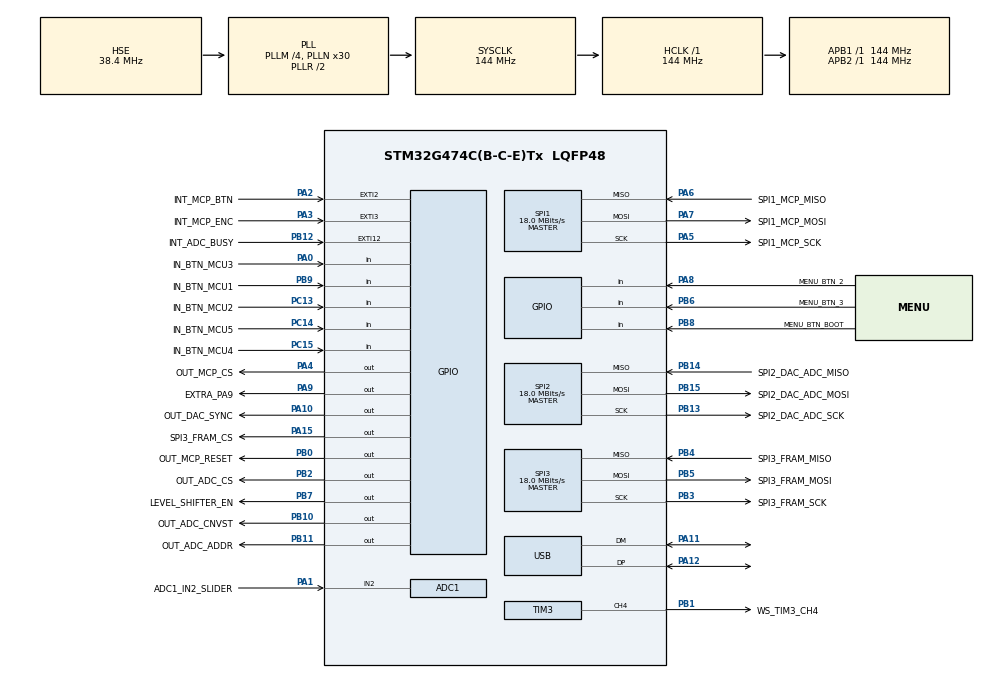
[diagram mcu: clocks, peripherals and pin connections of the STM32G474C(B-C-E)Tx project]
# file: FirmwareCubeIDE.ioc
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ADC1.Channel-1\#ChannelRegularConversion=ADC_CHANNEL_2
ADC1.ClockPrescaler=ADC_CLOCK_ASYNC_DIV256
ADC1.ContinuousConvMode=ENABLE
ADC1.NbrOfConversion=1
ADC1.NbrOfConversionFlag=1
ADC1.OffsetNumber-1\#ChannelRegularConversion=ADC_OFFSET_NONE
ADC1.OversamplingMode=ENABLE
ADC1.Rank-1\#ChannelRegularConversion=1
ADC1.Ratio=ADC_OVERSAMPLING_RATIO_32
ADC1.RightBitShift=ADC_RIGHTBITSHIFT_4
ADC1.SamplingTime-1\#ChannelRegularConversion=ADC_SAMPLETIME_247CYCLES_5
ADC1.master=1
Dma.Request0=TIM3_CH4
Dma.Request1=SPI1_RX
Dma.Request2=SPI1_TX
Dma.Request3=SPI2_RX
Dma.Request4=SPI2_TX
Dma.SPI1_RX.1.Direction=DMA_PERIPH_TO_MEMORY
Dma.SPI1_RX.1.EventEnable=DISABLE
Dma.SPI1_RX.1.Instance=DMA1_Channel2
Dma.SPI1_RX.1.MemDataAlignment=DMA_MDATAALIGN_BYTE
Dma.SPI1_RX.1.MemInc=DMA_MINC_ENABLE
Dma.SPI1_RX.1.Mode=DMA_NORMAL
Dma.SPI1_RX.1.PeriphDataAlignment=DMA_PDATAALIGN_BYTE
Dma.SPI1_RX.1.PeriphInc=DMA_PINC_DISABLE
Dma.SPI1_RX.1.Polarity=HAL_DMAMUX_REQ_GEN_RISING
Dma.SPI1_RX.1.Priority=DMA_PRIORITY_MEDIUM
Dma.SPI1_RX.1.RequestNumber=1
Dma.SPI1_RX.1.SignalID=NONE
Dma.SPI1_RX.1.SyncEnable=DISABLE
Dma.SPI1_RX.1.SyncPolarity=HAL_DMAMUX_SYNC_NO_EVENT
Dma.SPI1_RX.1.SyncRequestNumber=1
Dma.SPI1_RX.1.SyncSignalID=NONE
Dma.SPI1_TX.2.Direction=DMA_MEMORY_TO_PERIPH
Dma.SPI1_TX.2.EventEnable=DISABLE
Dma.SPI1_TX.2.Instance=DMA1_Channel3
Dma.SPI1_TX.2.MemDataAlignment=DMA_MDATAALIGN_BYTE
Dma.SPI1_TX.2.MemInc=DMA_MINC_ENABLE
Dma.SPI1_TX.2.Mode=DMA_NORMAL
Dma.SPI1_TX.2.PeriphDataAlignment=DMA_PDATAALIGN_BYTE
Dma.SPI1_TX.2.PeriphInc=DMA_PINC_DISABLE
Dma.SPI1_TX.2.Polarity=HAL_DMAMUX_REQ_GEN_RISING
Dma.SPI1_TX.2.Priority=DMA_PRIORITY_MEDIUM
Dma.SPI1_TX.2.RequestNumber=1
Dma.SPI1_TX.2.SignalID=NONE
Dma.SPI1_TX.2.SyncEnable=DISABLE
Dma.SPI1_TX.2.SyncPolarity=HAL_DMAMUX_SYNC_NO_EVENT
Dma.SPI1_TX.2.SyncRequestNumber=1
Dma.SPI1_TX.2.SyncSignalID=NONE
Dma.SPI2_RX.3.Direction=DMA_PERIPH_TO_MEMORY
Dma.SPI2_RX.3.EventEnable=DISABLE
Dma.SPI2_RX.3.Instance=DMA1_Channel4
Dma.SPI2_RX.3.MemDataAlignment=DMA_MDATAALIGN_BYTE
Dma.SPI2_RX.3.MemInc=DMA_MINC_ENABLE
Dma.SPI2_RX.3.Mode=DMA_NORMAL
Dma.SPI2_RX.3.PeriphDataAlignment=DMA_PDATAALIGN_BYTE
Dma.SPI2_RX.3.PeriphInc=DMA_PINC_DISABLE
Dma.SPI2_RX.3.Polarity=HAL_DMAMUX_REQ_GEN_RISING
Dma.SPI2_RX.3.Priority=DMA_PRIORITY_HIGH
Dma.SPI2_RX.3.RequestNumber=1
Dma.SPI2_RX.3.SignalID=NONE
Dma.SPI2_RX.3.SyncEnable=DISABLE
Dma.SPI2_RX.3.SyncPolarity=HAL_DMAMUX_SYNC_NO_EVENT
Dma.SPI2_RX.3.SyncRequestNumber=1
Dma.SPI2_RX.3.SyncSignalID=NONE
Dma.SPI2_TX.4.Direction=DMA_MEMORY_TO_PERIPH
Dma.SPI2_TX.4.EventEnable=DISABLE
Dma.SPI2_TX.4.Instance=DMA1_Channel5
Dma.SPI2_TX.4.MemDataAlignment=DMA_MDATAALIGN_BYTE
Dma.SPI2_TX.4.MemInc=DMA_MINC_ENABLE
Dma.SPI2_TX.4.Mode=DMA_NORMAL
Dma.SPI2_TX.4.PeriphDataAlignment=DMA_PDATAALIGN_BYTE
Dma.SPI2_TX.4.PeriphInc=DMA_PINC_DISABLE
Dma.SPI2_TX.4.Polarity=HAL_DMAMUX_REQ_GEN_RISING
Dma.SPI2_TX.4.Priority=DMA_PRIORITY_HIGH
Dma.SPI2_TX.4.RequestNumber=1
Dma.SPI2_TX.4.SignalID=NONE
Dma.SPI2_TX.4.SyncEnable=DISABLE
Dma.SPI2_TX.4.SyncPolarity=HAL_DMAMUX_SYNC_NO_EVENT
Dma.SPI2_TX.4.SyncRequestNumber=1
Dma.SPI2_TX.4.SyncSignalID=NONE
Dma.TIM3_CH4.0.Direction=DMA_MEMORY_TO_PERIPH
Dma.TIM3_CH4.0.EventEnable=ENABLE
Dma.TIM3_CH4.0.Instance=DMA1_Channel1
Dma.TIM3_CH4.0.MemDataAlignment=DMA_MDATAALIGN_HALFWORD
Dma.TIM3_CH4.0.MemInc=DMA_MINC_ENABLE
Dma.TIM3_CH4.0.Mode=DMA_NORMAL
Dma.TIM3_CH4.0.PeriphDataAlignment=DMA_PDATAALIGN_HALFWORD
Dma.TIM3_CH4.0.PeriphInc=DMA_PINC_DISABLE
Dma.TIM3_CH4.0.Polarity=HAL_DMAMUX_REQ_GEN_RISING
Dma.TIM3_CH4.0.Priority=DMA_PRIORITY_HIGH
Dma.TIM3_CH4.0.RequestNumber=1
Dma.TIM3_CH4.0.SignalID=NONE
Dma.TIM3_CH4.0.SyncEnable=DISABLE
Dma.TIM3_CH4.0.SyncPolarity=HAL_DMAMUX_SYNC_NO_EVENT
Dma.TIM3_CH4.0.SyncRequestNumber=1
Dma.TIM3_CH4.0.SyncSignalID=NONE
Mcu.Family=STM32G4
Mcu.Name=STM32G474C(B-C-E)Tx
Mcu.Package=LQFP48
NVIC.ADC1_2_IRQn=true\:0\:0\:false\:false\:true\:true\:true\:true
NVIC.DMA1_Channel1_IRQn=true\:0\:0\:false\:false\:true\:false\:true\:true
NVIC.DMA1_Channel2_IRQn=true\:0\:0\:false\:false\:true\:false\:true\:true
NVIC.DMA1_Channel3_IRQn=true\:0\:0\:false\:false\:true\:false\:true\:true
NVIC.DMA1_Channel4_IRQn=true\:0\:0\:false\:false\:true\:false\:true\:true
NVIC.DMA1_Channel5_IRQn=true\:0\:0\:false\:false\:true\:false\:true\:true
NVIC.DMAMUX_OVR_IRQn=true\:0\:0\:false\:false\:true\:false\:true\:true
NVIC.EXTI15_10_IRQn=true\:0\:0\:false\:false\:true\:true\:true\:true
NVIC.EXTI2_IRQn=true\:0\:0\:false\:false\:true\:true\:true\:true
NVIC.EXTI3_IRQn=true\:0\:0\:false\:false\:true\:true\:true\:true
NVIC.PriorityGroup=NVIC_PRIORITYGROUP_4
NVIC.SPI1_IRQn=true\:0\:0\:false\:false\:true\:true\:true\:true
NVIC.SPI2_IRQn=true\:0\:0\:false\:false\:true\:true\:true\:true
NVIC.TIM2_IRQn=true\:0\:0\:false\:false\:true\:true\:true\:true
NVIC.TIM3_IRQn=true\:0\:0\:false\:false\:true\:true\:true\:true
NVIC.USB_LP_IRQn=true\:0\:0\:false\:false\:true\:false\:true\:true
PA0.GPIO_Label=IN_BTN_MCU3
PA0.Signal=GPIO_Input
PA1.GPIO_Label=ADC1_IN2_SLIDER
PA1.Mode=IN2-Single-Ended
PA1.Signal=ADC1_IN2
PA10.GPIO_Label=OUT_DAC_SYNC
PA10.GPIO_Speed=GPIO_SPEED_FREQ_HIGH
PA10.PinState=GPIO_PIN_SET
PA10.Signal=GPIO_Output
PA11.Mode=Device
PA11.Signal=USB_DM
PA12.Mode=Device
PA12.Signal=USB_DP
PA13.Mode=Serial_Wire
PA13.Signal=SYS_JTMS-SWDIO
PA14.Mode=Serial_Wire
PA14.Signal=SYS_JTCK-SWCLK
PA15.GPIO_Label=SPI3_FRAM_CS
PA15.GPIO_Speed=GPIO_SPEED_FREQ_HIGH
PA15.Signal=GPIO_Output
PA2.GPIO_Label=INT_MCP_BTN
PA2.Signal=GPXTI2
PA3.GPIO_Label=INT_MCP_ENC
PA3.Signal=GPXTI3
PA4.GPIO_Label=OUT_MCP_CS
PA4.GPIO_Speed=GPIO_SPEED_FREQ_HIGH
PA4.Signal=GPIO_Output
PA5.GPIO_Label=SPI1_MCP_SCK
PA5.GPIO_Speed=GPIO_SPEED_FREQ_HIGH
PA5.Mode=Full_Duplex_Master
PA5.Signal=SPI1_SCK
PA6.GPIO_Label=SPI1_MCP_MISO
PA6.GPIO_Speed=GPIO_SPEED_FREQ_HIGH
PA6.Mode=Full_Duplex_Master
PA6.Signal=SPI1_MISO
PA7.GPIO_Label=SPI1_MCP_MOSI
PA7.GPIO_Speed=GPIO_SPEED_FREQ_HIGH
PA7.Mode=Full_Duplex_Master
PA7.Signal=SPI1_MOSI
PA8.GPIO_Label=MENU_BTN_2
PA8.Signal=GPIO_Input
PA9.GPIO_Label=EXTRA_PA9
PA9.GPIO_Speed=GPIO_SPEED_FREQ_HIGH
PA9.PinState=GPIO_PIN_SET
PA9.Signal=GPIO_Output
PB0.GPIO_Label=OUT_MCP_RESET
PB0.GPIO_Speed=GPIO_SPEED_FREQ_HIGH
PB0.Signal=GPIO_Output
PB1.GPIO_Label=WS_TIM3_CH4
PB1.GPIO_Speed=GPIO_SPEED_FREQ_LOW
PB1.Signal=S_TIM3_CH4
PB10.GPIO_Label=OUT_ADC_CNVST
PB10.GPIO_Speed=GPIO_SPEED_FREQ_HIGH
PB10.PinState=GPIO_PIN_SET
PB10.Signal=GPIO_Output
PB11.GPIO_Label=OUT_ADC_ADDR
PB11.GPIO_Speed=GPIO_SPEED_FREQ_HIGH
PB11.PinState=GPIO_PIN_RESET
PB11.Signal=GPIO_Output
PB12.GPIO_Label=INT_ADC_BUSY
PB12.GPIO_ModeDefaultEXTI=GPIO_MODE_IT_FALLING
PB12.Signal=GPXTI12
PB13.GPIO_Label=SPI2_DAC_ADC_SCK
PB13.GPIO_Speed=GPIO_SPEED_FREQ_HIGH
PB13.Mode=Full_Duplex_Master
PB13.Signal=SPI2_SCK
PB14.GPIO_Label=SPI2_DAC_ADC_MISO
PB14.GPIO_Speed=GPIO_SPEED_FREQ_HIGH
PB14.Mode=Full_Duplex_Master
PB14.Signal=SPI2_MISO
PB15.GPIO_Label=SPI2_DAC_ADC_MOSI
PB15.GPIO_Speed=GPIO_SPEED_FREQ_HIGH
PB15.Mode=Full_Duplex_Master
PB15.Signal=SPI2_MOSI
PB2.GPIO_Label=OUT_ADC_CS
PB2.GPIO_Speed=GPIO_SPEED_FREQ_HIGH
PB2.PinState=GPIO_PIN_SET
PB2.Signal=GPIO_Output
PB3.GPIO_Label=SPI3_FRAM_SCK
PB3.GPIO_Speed=GPIO_SPEED_FREQ_HIGH
PB3.Mode=Full_Duplex_Master
PB3.Signal=SPI3_SCK
PB4.GPIO_Label=SPI3_FRAM_MISO
PB4.GPIO_Speed=GPIO_SPEED_FREQ_HIGH
PB4.Mode=Full_Duplex_Master
PB4.Signal=SPI3_MISO
PB5.GPIO_Label=SPI3_FRAM_MOSI
PB5.GPIO_Speed=GPIO_SPEED_FREQ_HIGH
PB5.Mode=Full_Duplex_Master
PB5.Signal=SPI3_MOSI
PB6.GPIO_Label=MENU_BTN_3
PB6.Signal=GPIO_Input
PB7.GPIO_Label=LEVEL_SHIFTER_EN
PB7.Signal=GPIO_Output
PB8-BOOT0.GPIO_Label=MENU_BTN_BOOT
PB8-BOOT0.Signal=GPIO_Input
PB9.GPIO_Label=IN_BTN_MCU1
PB9.Signal=GPIO_Input
PC13.GPIO_Label=IN_BTN_MCU2
PC13.Signal=GPIO_Input
PC14-OSC32_IN.GPIO_Label=IN_BTN_MCU5
PC14-OSC32_IN.Signal=GPIO_Input
PC15-OSC32_OUT.GPIO_Label=IN_BTN_MCU4
PC15-OSC32_OUT.Signal=GPIO_Input
PF0-OSC_IN.Mode=HSE-External-Oscillator
PF0-OSC_IN.Signal=RCC_OSC_IN
PF1-OSC_OUT.Mode=HSE-External-Oscillator
PF1-OSC_OUT.Signal=RCC_OSC_OUT
ProjectManager.HeapSize=0x200
ProjectManager.StackSize=0x400
ProjectManager.TargetToolchain=CMake
RCC.ADC12Freq_Value=144000000
RCC.ADC345Freq_Value=144000000
RCC.AHBFreq_Value=144000000
RCC.APB1Freq_Value=144000000
RCC.APB1TimFreq_Value=144000000
RCC.APB2Freq_Value=144000000
RCC.APB2TimFreq_Value=144000000
RCC.CortexFreq_Value=144000000
RCC.EXTERNAL_CLOCK_VALUE=12288000
RCC.HCLKFreq_Value=144000000
RCC.HSE_VALUE=38400000
RCC.HSI48_VALUE=48000000
RCC.HSI_VALUE=16000000
RCC.LSE_VALUE=32768
RCC.PLLM=RCC_PLLM_DIV4
RCC.PLLN=30
RCC.PLLQ=RCC_PLLQ_DIV6
RCC.PLLSourceVirtual=RCC_PLLSOURCE_HSE
RCC.PWREXT_OverDrive=PWREXT_OverDrive_DESACTIVATED
RCC.RCC_TIM_PRescaler_Selection=RCC_TIMPRES_DESACTIVATED
RCC.SYSCLKFreq_VALUE=144000000
RCC.SYSCLKSource=RCC_SYSCLKSOURCE_PLLCLK
RCC.USBFreq_Value=48000000
RCC.VCOOutputFreq_Value=288000000
SH.S_TIM3_CH4.0=TIM3_CH4,PWM Generation4 CH4
SPI1.BaudRatePrescaler=SPI_BAUDRATEPRESCALER_8
SPI1.CalculateBaudRate=18.0 MBits/s
SPI1.DataSize=SPI_DATASIZE_8BIT
SPI1.Direction=SPI_DIRECTION_2LINES
SPI1.Mode=SPI_MODE_MASTER
SPI1.NSSPMode=SPI_NSS_PULSE_DISABLE
SPI1.VirtualType=VM_MASTER
SPI2.BaudRatePrescaler=SPI_BAUDRATEPRESCALER_8
SPI2.CLKPhase=SPI_PHASE_1EDGE
SPI2.CalculateBaudRate=18.0 MBits/s
SPI2.DataSize=SPI_DATASIZE_8BIT
SPI2.Direction=SPI_DIRECTION_2LINES
SPI2.Mode=SPI_MODE_MASTER
SPI2.NSSPMode=SPI_NSS_PULSE_DISABLE
SPI2.VirtualType=VM_MASTER
SPI3.BaudRatePrescaler=SPI_BAUDRATEPRESCALER_8
SPI3.CalculateBaudRate=18.0 MBits/s
SPI3.DataSize=SPI_DATASIZE_8BIT
SPI3.Direction=SPI_DIRECTION_2LINES
SPI3.Mode=SPI_MODE_MASTER
SPI3.NSSPMode=SPI_NSS_PULSE_DISABLE
SPI3.VirtualType=VM_MASTER
TIM2.PeriodNoDither=32
TIM2.Prescaler=14400
TIM3.Channel-PWM\ Generation4\ CH4=TIM_CHANNEL_4
TIM3.OCFastMode_PWM-PWM\ Generation4\ CH4=TIM_OCFAST_DISABLE
TIM3.PeriodNoDither=90-1
TIM3.Prescaler=2-1
TIM4.PeriodNoDither=100
TIM4.Prescaler=143
USB_DEVICE.CLASS_NAME_FS=HID
USB_DEVICE.MANUFACTURER_STRING=Bemeier
USB_DEVICE.PRODUCT_STRING_HID_FS=BMCV
USB_DEVICE.VirtualMode=Hid
USB_DEVICE.VirtualModeFS=Hid_FS
VP_SYS_VS_DBSignals.Mode=DisableDeadBatterySignals
VP_TIM1_VS_ClockSourceINT.Mode=Internal
VP_TIM2_VS_ClockSourceINT.Mode=Internal
VP_TIM3_VS_ClockSourceINT.Mode=Internal
VP_TIM4_VS_ClockSourceINT.Mode=Internal
VP_USB_DEVICE_VS_USB_DEVICE_HID_FS.Mode=HID_FS
board=custom

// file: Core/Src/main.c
/* USER CODE BEGIN Header */
/**
  ******************************************************************************
  * @file           : main.c
  * @brief          : Main program body
  ******************************************************************************
  * @attention
  *
  * Copyright (c) 2025 STMicroelectronics.
  * All rights reserved.
  *
  * This software is licensed under terms that can be found in the LICENSE file
  * in the root directory of this software component.
  * If no LICENSE file comes with this software, it is provided AS-IS.
  *
  ******************************************************************************
  */
/* USER CODE END Header */
#include "main.h"
#include "usb_device.h"

/* USER CODE BEGIN Includes */
#include <math.h>
#include "dac_adc.h"
#include "dualmcp.h"
#include "envelope.h"
#include "helpers.h"
#include "ws2811.h"
#include "fram.h"
#include "midi.h"
/* USER CODE END Includes */

/* USER CODE BEGIN PD */

volatile uint8_t mcp_poll = 0;
volatile uint8_t dacadc_poll = 0;
volatile uint8_t led_poll = 0;
volatile uint8_t midi_poll = 0;

// MCP & DAC
DUALMCP mcp;
DAC_ADC dacadc;
ENVELOPE env[4];

/* USER CODE END PD */

ADC_HandleTypeDef hadc1;

SPI_HandleTypeDef hspi1;
SPI_HandleTypeDef hspi2;
SPI_HandleTypeDef hspi3;
DMA_HandleTypeDef hdma_spi1_rx;
DMA_HandleTypeDef hdma_spi1_tx;
DMA_HandleTypeDef hdma_spi2_rx;
DMA_HandleTypeDef hdma_spi2_tx;

TIM_HandleTypeDef htim1;
TIM_HandleTypeDef htim2;
TIM_HandleTypeDef htim3;
TIM_HandleTypeDef htim4;
DMA_HandleTypeDef hdma_tim3_ch4;

/* USER CODE BEGIN PV */
uint16_t slider = 0;
int state = 0;
uint32_t now = 0, next_blink = 500, next_tick = 1000, loop_count = 0;
HAL_StatusTypeDef result;

/* USER CODE END PV */

void SystemClock_Config(void);
static void MX_GPIO_Init(void);
static void MX_DMA_Init(void);
static void MX_ADC1_Init(void);
static void MX_SPI1_Init(void);
static void MX_SPI2_Init(void);
static void MX_SPI3_Init(void);
static void MX_TIM1_Init(void);
static void MX_TIM3_Init(void);
static void MX_TIM4_Init(void);
static void MX_TIM2_Init(void);

/* USER CODE BEGIN 0 */

uint8_t nextDac = 0;

void HAL_GPIO_EXTI_Callback(uint16_t GPIO_Pin) {
	if(GPIO_Pin == INT_MCP_ENC_Pin || GPIO_Pin == 0) {
    mcp_poll = 1;
	}
}

void HAL_SPI_TxRxCpltCallback(SPI_HandleTypeDef * hspi) {
	if (hspi->Instance == mcp.spiHandle->Instance) {
		MCP_DMA_Complete(&mcp);
	}

	if (hspi->Instance == dacadc.spiHandle->Instance) {
		DAC_ADC_DMA_Complete(&dacadc);
		nextDac = 1;
	}
}

void HAL_TIM_PWM_PulseFinishedCallback(TIM_HandleTypeDef *htim)
{
    ws2811_dma_complete_callback(htim);
}

#define SINE_STEPS     128       // Number of points per wave cycle
#define SINE_AMPLITUDE 16000     // Max int16_t value for DAC full scale
#define CHANNEL        0         // DAC Channel A

float sine_table[SINE_STEPS];

uint8_t val1;
uint8_t test_val;
uint8_t read_val;
uint16_t sine_index = 0;

volatile float adc_freq_hz = 0;           // Smoothed ADC frequency estimate
volatile uint32_t last_sample_time = 0;   // Last tick (ms) of ADC sample
const float filter_alpha = 0.1f;          // Low-pass filter coefficient
int16_t lastSlider = 0;

void init_cycle_counter() {
    CoreDebug->DEMCR |= CoreDebug_DEMCR_TRCENA_Msk;
    DWT->CYCCNT = 0;
    DWT->CTRL |= DWT_CTRL_CYCCNTENA_Msk;
}

/* USER CODE END 0 */

int main(void)
{

  /* MCU Configuration--------------------------------------------------------*/

  /* Reset of all peripherals, Initializes the Flash interface and the Systick. */
  HAL_Init();

  /* Configure the system clock */
  SystemClock_Config();

  /* Initialize all configured peripherals */
  MX_GPIO_Init();
  MX_DMA_Init();
  MX_ADC1_Init();
  MX_SPI1_Init();
  MX_SPI2_Init();
  MX_SPI3_Init();
  MX_TIM1_Init();
  MX_TIM3_Init();
  MX_TIM4_Init();
  MX_USB_Device_Init();
  MX_TIM2_Init();
  /* USER CODE BEGIN 2 */

  init_cycle_counter();
  generate_quant_lut();

  HAL_GPIO_WritePin(LEVEL_SHIFTER_EN_GPIO_Port, LEVEL_SHIFTER_EN_Pin, GPIO_PIN_SET);
  HAL_Delay(20);

  ws2811_init(&htim3, TIM_CHANNEL_4);

  fram_init(&hspi3, SPI3_FRAM_CS_GPIO_Port, SPI3_FRAM_CS_Pin);

  // Should move to init function:
  mcp.spiHandle = &hspi1;
  mcp.csPortHandle = OUT_MCP_CS_GPIO_Port;
  mcp.csPin = OUT_MCP_CS_Pin;
  mcp.resetPortHandle = OUT_MCP_RESET_GPIO_Port;
  mcp.resetPin = OUT_MCP_RESET_Pin;

  dacadc.spiHandle = &hspi2;
  dacadc.csadcPortHandle = OUT_ADC_CS_GPIO_Port;
  dacadc.csadcPin = OUT_ADC_CS_Pin;
  dacadc.cnvstPortHandle = OUT_ADC_CNVST_GPIO_Port;
  dacadc.cnvstPin = OUT_ADC_CNVST_Pin;
  dacadc.addrPortHandle = OUT_ADC_ADDR_GPIO_Port;
  dacadc.adrrPin = OUT_ADC_ADDR_Pin;
  dacadc.csdacPortHandle = OUT_DAC_SYNC_GPIO_Port;
  dacadc.csdacPin = OUT_DAC_SYNC_Pin;

  MCP23S17_Init(&mcp);

  ADC_Init(&dacadc);

  DAC_Init(&dacadc);

  for (int i = 0; i < SINE_STEPS; i++)
  {
      sine_table[i] = SINE_AMPLITUDE * sinf(2 * M_PI * i / SINE_STEPS);
  }

  /* USER CODE END 2 */

  /* Infinite loop */
  /* USER CODE BEGIN WHILE */
  HAL_ADC_Start_IT(&hadc1);
  HAL_TIM_Base_Start_IT(&htim2);

  HAL_Delay(10);

  DAC_ADC_DMA_Next(&dacadc);

  uint32_t last_time = 0;
  uint32_t now = 0;
  uint32_t elapsed_cycles = 0;

  while (1)
  {
    now = DWT->CYCCNT;
    elapsed_cycles = now - last_time;
    last_time = now;
    uint32_t elapsed_us = elapsed_cycles / (SystemCoreClock / 1000000);

    /*
    int16_t envVal = update_envelope(&env[0], elapsed_us);
    WRITE_DAC_VALUE(&dacadc, 6, envVal);
  	set_led_adc_range(envVal/4, &ws2811_rgb_data[0]);
    */

    if (mcp_poll == 1 && mcp.spi_dma_state == 0) {
        mcp_poll = 0;
        mcp.button_state[N_ENCODERS*2+0] = HAL_GPIO_ReadPin(IN_BTN_MCU1_GPIO_Port,   IN_BTN_MCU1_Pin);
        mcp.button_state[N_ENCODERS*2+1] = HAL_GPIO_ReadPin(IN_BTN_MCU2_GPIO_Port,   IN_BTN_MCU2_Pin);
        mcp.button_state[N_ENCODERS*2+2] = HAL_GPIO_ReadPin(IN_BTN_MCU3_GPIO_Port,   IN_BTN_MCU3_Pin);
        mcp.button_state[N_ENCODERS*2+3] = HAL_GPIO_ReadPin(IN_BTN_MCU4_GPIO_Port,   IN_BTN_MCU4_Pin);
        mcp.button_state[N_ENCODERS*2+4] = HAL_GPIO_ReadPin(IN_BTN_MCU5_GPIO_Port,   IN_BTN_MCU5_Pin);
        mcp.button_state[N_ENCODERS*2+5] = HAL_GPIO_ReadPin(MENU_BTN_2_GPIO_Port,    MENU_BTN_2_Pin);
        mcp.button_state[N_ENCODERS*2+6] = HAL_GPIO_ReadPin(MENU_BTN_BOOT_GPIO_Port, MENU_BTN_BOOT_Pin);
        mcp.button_state[N_ENCODERS*2+7] = HAL_GPIO_ReadPin(MENU_BTN_3_GPIO_Port,    MENU_BTN_3_Pin);

        // Process buttons?

        ReadButtonsDMA(&mcp);
    }

    if (midi_poll && midi_idle()) {
      midi_poll = 0;
      MIDI_addToUSBReport(0, 0xB0, 0x10, sclamp(dacadc.adc_i[0]/32, 0, 127));
      MIDI_addToUSBReport(0, 0xB0, 0x11, sclamp(dacadc.adc_i[1]/32, 0, 127));
      MIDI_addToUSBReport(0, 0xB0, 0x12, sclamp(dacadc.adc_i[2]/32, 0, 127));
      MIDI_addToUSBReport(0, 0xB0, 0x13, sclamp(dacadc.adc_i[3]/32, 0, 127));
      update_midi();
    }

    if (led_poll && ws2811_dma_completed()) {
      led_poll = 0;
      //float hue = sinf(2.0f * M_PI * freq * time_ms / 1000.0f) * 127.5f + 127.5f;
      //set_led_hsv(128, 255, 80, &ws2811_rgb_data[0]);
      for (uint8_t ledidx = 0; ledidx < LED_COUNT; ledidx++) {
        ws2811_setled_hsv(ledidx, (dacadc.adc_i[0] + 4096) / 32, 250, 16);
      }

      //set_led_hsv(255, 255, 80, &ws2811_rgb_data[LED_COUNT-1]);
      //set_led_adc_range(adc_i[0], &ws2811_rgb_data[0]);

      ws2811_update();
    }

    for (uint8_t ch = 0; ch < 4; ch++) {
      if (dacadc.trig_flag[ch]) {
        dacadc.trig_flag[ch] = 0;
        if (ch == 0) {
          //HAL_GPIO_TogglePin(SLIDER_LED_GPIO_Port, SLIDER_LED_Pin);
          trigger_envelope(&env[0], 10000 + slider * 20, 10000 + slider * 60, (int8_t) 127 - ((mcp.enc_position_state[7]*4) % 256));
        }
      }
    }

    // TODO: dma busy flag?
    if (nextDac) {
      /*
      if (dacadc.CH_IDX == 0) {
          sine_index = (sine_index + 1) % SINE_STEPS;
          for (uint8_t i = 0; i < 6; i++) {
            int16_t val = sine_table[(sine_index + i * 16) % SINE_STEPS];
            if (i % 2 == 0 && val > 0) {
              val = SINE_AMPLITUDE;
            } else if (i % 2 == 0 && val <= 0) {
              val = -SINE_AMPLITUDE;
            }
            WRITE_DAC_VALUE(&dacadc, i, val);
          }
      }

      WRITE_DAC_VALUE(&dacadc, 7, quantize_adc(dacadc.adc_i[3]));
      */

      // COMPUTE OUTPUT?
      nextDac = 0;
      DAC_ADC_DMA_Next(&dacadc);
    }

    /* USER CODE END WHILE */

  }
}

void SystemClock_Config(void)
{
  RCC_OscInitTypeDef RCC_OscInitStruct = {0};
  RCC_ClkInitTypeDef RCC_ClkInitStruct = {0};

  /** Configure the main internal regulator output voltage
  */
  HAL_PWREx_ControlVoltageScaling(PWR_REGULATOR_VOLTAGE_SCALE1);

  /** Initializes the RCC Oscillators according to the specified parameters
  * in the RCC_OscInitTypeDef structure.
  */
  RCC_OscInitStruct.OscillatorType = RCC_OSCILLATORTYPE_HSE;
  RCC_OscInitStruct.HSEState = RCC_HSE_ON;
  RCC_OscInitStruct.PLL.PLLState = RCC_PLL_ON;
  RCC_OscInitStruct.PLL.PLLSource = RCC_PLLSOURCE_HSE;
  RCC_OscInitStruct.PLL.PLLM = RCC_PLLM_DIV4;
  RCC_OscInitStruct.PLL.PLLN = 30;
  RCC_OscInitStruct.PLL.PLLP = RCC_PLLP_DIV2;
  RCC_OscInitStruct.PLL.PLLQ = RCC_PLLQ_DIV6;
  RCC_OscInitStruct.PLL.PLLR = RCC_PLLR_DIV2;
  if (HAL_RCC_OscConfig(&RCC_OscInitStruct) != HAL_OK)
  {
    Error_Handler();
  }

  /** Initializes the CPU, AHB and APB buses clocks
  */
  RCC_ClkInitStruct.ClockType = RCC_CLOCKTYPE_HCLK|RCC_CLOCKTYPE_SYSCLK
                              |RCC_CLOCKTYPE_PCLK1|RCC_CLOCKTYPE_PCLK2;
  RCC_ClkInitStruct.SYSCLKSource = RCC_SYSCLKSOURCE_PLLCLK;
  RCC_ClkInitStruct.AHBCLKDivider = RCC_SYSCLK_DIV1;
  RCC_ClkInitStruct.APB1CLKDivider = RCC_HCLK_DIV1;
  RCC_ClkInitStruct.APB2CLKDivider = RCC_HCLK_DIV1;

  if (HAL_RCC_ClockConfig(&RCC_ClkInitStruct, FLASH_LATENCY_4) != HAL_OK)
  {
    Error_Handler();
  }
}

static void MX_ADC1_Init(void)
{

  ADC_MultiModeTypeDef multimode = {0};
  ADC_ChannelConfTypeDef sConfig = {0};

  /** Common config
  */
  hadc1.Instance = ADC1;
  hadc1.Init.ClockPrescaler = ADC_CLOCK_ASYNC_DIV256;
  hadc1.Init.Resolution = ADC_RESOLUTION_12B;
  hadc1.Init.DataAlign = ADC_DATAALIGN_RIGHT;
  hadc1.Init.GainCompensation = 0;
  hadc1.Init.ScanConvMode = ADC_SCAN_DISABLE;
  hadc1.Init.EOCSelection = ADC_EOC_SINGLE_CONV;
  hadc1.Init.LowPowerAutoWait = DISABLE;
  hadc1.Init.ContinuousConvMode = ENABLE;
  hadc1.Init.NbrOfConversion = 1;
  hadc1.Init.DiscontinuousConvMode = DISABLE;
  hadc1.Init.ExternalTrigConv = ADC_SOFTWARE_START;
  hadc1.Init.ExternalTrigConvEdge = ADC_EXTERNALTRIGCONVEDGE_NONE;
  hadc1.Init.DMAContinuousRequests = DISABLE;
  hadc1.Init.Overrun = ADC_OVR_DATA_PRESERVED;
  hadc1.Init.OversamplingMode = ENABLE;
  hadc1.Init.Oversampling.Ratio = ADC_OVERSAMPLING_RATIO_32;
  hadc1.Init.Oversampling.RightBitShift = ADC_RIGHTBITSHIFT_4;
  hadc1.Init.Oversampling.TriggeredMode = ADC_TRIGGEREDMODE_SINGLE_TRIGGER;
  hadc1.Init.Oversampling.OversamplingStopReset = ADC_REGOVERSAMPLING_CONTINUED_MODE;
  if (HAL_ADC_Init(&hadc1) != HAL_OK)
  {
    Error_Handler();
  }

  /** Configure the ADC multi-mode
  */
  multimode.Mode = ADC_MODE_INDEPENDENT;
  if (HAL_ADCEx_MultiModeConfigChannel(&hadc1, &multimode) != HAL_OK)
  {
    Error_Handler();
  }

  /** Configure Regular Channel
  */
  sConfig.Channel = ADC_CHANNEL_2;
  sConfig.Rank = ADC_REGULAR_RANK_1;
  sConfig.SamplingTime = ADC_SAMPLETIME_247CYCLES_5;
  sConfig.SingleDiff = ADC_SINGLE_ENDED;
  sConfig.OffsetNumber = ADC_OFFSET_NONE;
  sConfig.Offset = 0;
  if (HAL_ADC_ConfigChannel(&hadc1, &sConfig) != HAL_OK)
  {
    Error_Handler();
  }

}

static void MX_SPI1_Init(void)
{

  /* SPI1 parameter configuration*/
  hspi1.Instance = SPI1;
  hspi1.Init.Mode = SPI_MODE_MASTER;
  hspi1.Init.Direction = SPI_DIRECTION_2LINES;
  hspi1.Init.DataSize = SPI_DATASIZE_8BIT;
  hspi1.Init.CLKPolarity = SPI_POLARITY_LOW;
  hspi1.Init.CLKPhase = SPI_PHASE_1EDGE;
  hspi1.Init.NSS = SPI_NSS_SOFT;
  hspi1.Init.BaudRatePrescaler = SPI_BAUDRATEPRESCALER_8;
  hspi1.Init.FirstBit = SPI_FIRSTBIT_MSB;
  hspi1.Init.TIMode = SPI_TIMODE_DISABLE;
  hspi1.Init.CRCCalculation = SPI_CRCCALCULATION_DISABLE;
  hspi1.Init.CRCPolynomial = 7;
  hspi1.Init.CRCLength = SPI_CRC_LENGTH_DATASIZE;
  hspi1.Init.NSSPMode = SPI_NSS_PULSE_DISABLE;
  if (HAL_SPI_Init(&hspi1) != HAL_OK)
  {
    Error_Handler();
  }

}

static void MX_SPI2_Init(void)
{

  /* SPI2 parameter configuration*/
  hspi2.Instance = SPI2;
  hspi2.Init.Mode = SPI_MODE_MASTER;
  hspi2.Init.Direction = SPI_DIRECTION_2LINES;
  hspi2.Init.DataSize = SPI_DATASIZE_8BIT;
  hspi2.Init.CLKPolarity = SPI_POLARITY_LOW;
  hspi2.Init.CLKPhase = SPI_PHASE_1EDGE;
  hspi2.Init.NSS = SPI_NSS_SOFT;
  hspi2.Init.BaudRatePrescaler = SPI_BAUDRATEPRESCALER_8;
  hspi2.Init.FirstBit = SPI_FIRSTBIT_MSB;
  hspi2.Init.TIMode = SPI_TIMODE_DISABLE;
  hspi2.Init.CRCCalculation = SPI_CRCCALCULATION_DISABLE;
  hspi2.Init.CRCPolynomial = 7;
  hspi2.Init.CRCLength = SPI_CRC_LENGTH_DATASIZE;
  hspi2.Init.NSSPMode = SPI_NSS_PULSE_DISABLE;
  if (HAL_SPI_Init(&hspi2) != HAL_OK)
  {
    Error_Handler();
  }

}

static void MX_SPI3_Init(void)
{

  /* SPI3 parameter configuration*/
  hspi3.Instance = SPI3;
  hspi3.Init.Mode = SPI_MODE_MASTER;
  hspi3.Init.Direction = SPI_DIRECTION_2LINES;
  hspi3.Init.DataSize = SPI_DATASIZE_8BIT;
  hspi3.Init.CLKPolarity = SPI_POLARITY_LOW;
  hspi3.Init.CLKPhase = SPI_PHASE_1EDGE;
  hspi3.Init.NSS = SPI_NSS_SOFT;
  hspi3.Init.BaudRatePrescaler = SPI_BAUDRATEPRESCALER_8;
  hspi3.Init.FirstBit = SPI_FIRSTBIT_MSB;
  hspi3.Init.TIMode = SPI_TIMODE_DISABLE;
  hspi3.Init.CRCCalculation = SPI_CRCCALCULATION_DISABLE;
  hspi3.Init.CRCPolynomial = 7;
  hspi3.Init.CRCLength = SPI_CRC_LENGTH_DATASIZE;
  hspi3.Init.NSSPMode = SPI_NSS_PULSE_DISABLE;
  if (HAL_SPI_Init(&hspi3) != HAL_OK)
  {
    Error_Handler();
  }

}

static void MX_TIM1_Init(void)
{

  TIM_ClockConfigTypeDef sClockSourceConfig = {0};
  TIM_MasterConfigTypeDef sMasterConfig = {0};

  htim1.Instance = TIM1;
  htim1.Init.Prescaler = 0;
  htim1.Init.CounterMode = TIM_COUNTERMODE_UP;
  htim1.Init.Period = 65535;
  htim1.Init.ClockDivision = TIM_CLOCKDIVISION_DIV1;
  htim1.Init.RepetitionCounter = 0;
  htim1.Init.AutoReloadPreload = TIM_AUTORELOAD_PRELOAD_DISABLE;
  if (HAL_TIM_Base_Init(&htim1) != HAL_OK)
  {
    Error_Handler();
  }
  sClockSourceConfig.ClockSource = TIM_CLOCKSOURCE_INTERNAL;
  if (HAL_TIM_ConfigClockSource(&htim1, &sClockSourceConfig) != HAL_OK)
  {
    Error_Handler();
  }
  sMasterConfig.MasterOutputTrigger = TIM_TRGO_RESET;
  sMasterConfig.MasterOutputTrigger2 = TIM_TRGO2_RESET;
  sMasterConfig.MasterSlaveMode = TIM_MASTERSLAVEMODE_DISABLE;
  if (HAL_TIMEx_MasterConfigSynchronization(&htim1, &sMasterConfig) != HAL_OK)
  {
    Error_Handler();
  }

}

static void MX_TIM2_Init(void)
{

  TIM_ClockConfigTypeDef sClockSourceConfig = {0};
  TIM_MasterConfigTypeDef sMasterConfig = {0};

  htim2.Instance = TIM2;
  htim2.Init.Prescaler = 14400;
  htim2.Init.CounterMode = TIM_COUNTERMODE_UP;
  htim2.Init.Period = 32;
  htim2.Init.ClockDivision = TIM_CLOCKDIVISION_DIV1;
  htim2.Init.AutoReloadPreload = TIM_AUTORELOAD_PRELOAD_DISABLE;
  if (HAL_TIM_Base_Init(&htim2) != HAL_OK)
  {
    Error_Handler();
  }
  sClockSourceConfig.ClockSource = TIM_CLOCKSOURCE_INTERNAL;
  if (HAL_TIM_ConfigClockSource(&htim2, &sClockSourceConfig) != HAL_OK)
  {
    Error_Handler();
  }
  sMasterConfig.MasterOutputTrigger = TIM_TRGO_RESET;
  sMasterConfig.MasterSlaveMode = TIM_MASTERSLAVEMODE_DISABLE;
  if (HAL_TIMEx_MasterConfigSynchronization(&htim2, &sMasterConfig) != HAL_OK)
  {
    Error_Handler();
  }

}

static void MX_TIM3_Init(void)
{

  TIM_ClockConfigTypeDef sClockSourceConfig = {0};
  TIM_MasterConfigTypeDef sMasterConfig = {0};
  TIM_OC_InitTypeDef sConfigOC = {0};

  htim3.Instance = TIM3;
  htim3.Init.Prescaler = 2-1;
  htim3.Init.CounterMode = TIM_COUNTERMODE_UP;
  htim3.Init.Period = 89;
  htim3.Init.ClockDivision = TIM_CLOCKDIVISION_DIV1;
  htim3.Init.AutoReloadPreload = TIM_AUTORELOAD_PRELOAD_DISABLE;
  if (HAL_TIM_Base_Init(&htim3) != HAL_OK)
  {
    Error_Handler();
  }
  sClockSourceConfig.ClockSource = TIM_CLOCKSOURCE_INTERNAL;
  if (HAL_TIM_ConfigClockSource(&htim3, &sClockSourceConfig) != HAL_OK)
  {
    Error_Handler();
  }
  if (HAL_TIM_PWM_Init(&htim3) != HAL_OK)
  {
    Error_Handler();
  }
  sMasterConfig.MasterOutputTrigger = TIM_TRGO_RESET;
  sMasterConfig.MasterSlaveMode = TIM_MASTERSLAVEMODE_DISABLE;
  if (HAL_TIMEx_MasterConfigSynchronization(&htim3, &sMasterConfig) != HAL_OK)
  {
    Error_Handler();
  }
  sConfigOC.OCMode = TIM_OCMODE_PWM1;
  sConfigOC.Pulse = 0;
  sConfigOC.OCPolarity = TIM_OCPOLARITY_HIGH;
  sConfigOC.OCFastMode = TIM_OCFAST_DISABLE;
  if (HAL_TIM_PWM_ConfigChannel(&htim3, &sConfigOC, TIM_CHANNEL_4) != HAL_OK)
  {
    Error_Handler();
  }
  /* USER CODE BEGIN TIM3_Init 2 */
  __HAL_LINKDMA(&htim3, hdma[TIM_DMA_ID_CC4], hdma_tim3_ch4);
  /* USER CODE END TIM3_Init 2 */
  HAL_TIM_MspPostInit(&htim3);

}

static void MX_TIM4_Init(void)
{

  TIM_ClockConfigTypeDef sClockSourceConfig = {0};
  TIM_MasterConfigTypeDef sMasterConfig = {0};

  htim4.Instance = TIM4;
  htim4.Init.Prescaler = 143;
  htim4.Init.CounterMode = TIM_COUNTERMODE_UP;
  htim4.Init.Period = 100;
  htim4.Init.ClockDivision = TIM_CLOCKDIVISION_DIV1;
  htim4.Init.AutoReloadPreload = TIM_AUTORELOAD_PRELOAD_DISABLE;
  if (HAL_TIM_Base_Init(&htim4) != HAL_OK)
  {
    Error_Handler();
  }
  sClockSourceConfig.ClockSource = TIM_CLOCKSOURCE_INTERNAL;
  if (HAL_TIM_ConfigClockSource(&htim4, &sClockSourceConfig) != HAL_OK)
  {
    Error_Handler();
  }
  sMasterConfig.MasterOutputTrigger = TIM_TRGO_RESET;
  sMasterConfig.MasterSlaveMode = TIM_MASTERSLAVEMODE_DISABLE;
  if (HAL_TIMEx_MasterConfigSynchronization(&htim4, &sMasterConfig) != HAL_OK)
  {
    Error_Handler();
  }

}

static void MX_DMA_Init(void)
{

  /* DMA controller clock enable */
  __HAL_RCC_DMAMUX1_CLK_ENABLE();
  __HAL_RCC_DMA1_CLK_ENABLE();

  /* DMA interrupt init */
  /* DMA1_Channel1_IRQn interrupt configuration */
  HAL_NVIC_SetPriority(DMA1_Channel1_IRQn, 0, 0);
  HAL_NVIC_EnableIRQ(DMA1_Channel1_IRQn);
  /* DMA1_Channel2_IRQn interrupt configuration */
  HAL_NVIC_SetPriority(DMA1_Channel2_IRQn, 0, 0);
  HAL_NVIC_EnableIRQ(DMA1_Channel2_IRQn);
  /* DMA1_Channel3_IRQn interrupt configuration */
  HAL_NVIC_SetPriority(DMA1_Channel3_IRQn, 0, 0);
  HAL_NVIC_EnableIRQ(DMA1_Channel3_IRQn);
  /* DMA1_Channel4_IRQn interrupt configuration */
  HAL_NVIC_SetPriority(DMA1_Channel4_IRQn, 0, 0);
  HAL_NVIC_EnableIRQ(DMA1_Channel4_IRQn);
  /* DMA1_Channel5_IRQn interrupt configuration */
  HAL_NVIC_SetPriority(DMA1_Channel5_IRQn, 0, 0);
  HAL_NVIC_EnableIRQ(DMA1_Channel5_IRQn);
  /* DMAMUX_OVR_IRQn interrupt configuration */
  HAL_NVIC_SetPriority(DMAMUX_OVR_IRQn, 0, 0);
  HAL_NVIC_EnableIRQ(DMAMUX_OVR_IRQn);

}

static void MX_GPIO_Init(void)
{
  GPIO_InitTypeDef GPIO_InitStruct = {0};

  /* GPIO Ports Clock Enable */
  __HAL_RCC_GPIOC_CLK_ENABLE();
  __HAL_RCC_GPIOF_CLK_ENABLE();
  __HAL_RCC_GPIOA_CLK_ENABLE();
  __HAL_RCC_GPIOB_CLK_ENABLE();

  /*Configure GPIO pin Output Level */
  HAL_GPIO_WritePin(GPIOA, OUT_MCP_CS_Pin|SPI3_FRAM_CS_Pin, GPIO_PIN_RESET);

  /*Configure GPIO pin Output Level */
  HAL_GPIO_WritePin(GPIOB, OUT_MCP_RESET_Pin|OUT_ADC_ADDR_Pin|LEVEL_SHIFTER_EN_Pin, GPIO_PIN_RESET);

  /*Configure GPIO pin Output Level */
  HAL_GPIO_WritePin(GPIOB, OUT_ADC_CS_Pin|OUT_ADC_CNVST_Pin, GPIO_PIN_SET);

  /*Configure GPIO pin Output Level */
  HAL_GPIO_WritePin(GPIOA, EXTRA_PA9_Pin|OUT_DAC_SYNC_Pin, GPIO_PIN_SET);

  /*Configure GPIO pins : IN_BTN_MCU2_Pin IN_BTN_MCU5_Pin IN_BTN_MCU4_Pin */
  GPIO_InitStruct.Pin = IN_BTN_MCU2_Pin|IN_BTN_MCU5_Pin|IN_BTN_MCU4_Pin;
  GPIO_InitStruct.Mode = GPIO_MODE_INPUT;
  GPIO_InitStruct.Pull = GPIO_NOPULL;
  HAL_GPIO_Init(GPIOC, &GPIO_InitStruct);

  /*Configure GPIO pins : IN_BTN_MCU3_Pin MENU_BTN_2_Pin */
  GPIO_InitStruct.Pin = IN_BTN_MCU3_Pin|MENU_BTN_2_Pin;
  GPIO_InitStruct.Mode = GPIO_MODE_INPUT;
  GPIO_InitStruct.Pull = GPIO_NOPULL;
  HAL_GPIO_Init(GPIOA, &GPIO_InitStruct);

  /*Configure GPIO pins : INT_MCP_BTN_Pin INT_MCP_ENC_Pin */
  GPIO_InitStruct.Pin = INT_MCP_BTN_Pin|INT_MCP_ENC_Pin;
  GPIO_InitStruct.Mode = GPIO_MODE_IT_RISING;
  GPIO_InitStruct.Pull = GPIO_NOPULL;
  HAL_GPIO_Init(GPIOA, &GPIO_InitStruct);

  /*Configure GPIO pins : OUT_MCP_CS_Pin EXTRA_PA9_Pin OUT_DAC_SYNC_Pin SPI3_FRAM_CS_Pin */
  GPIO_InitStruct.Pin = OUT_MCP_CS_Pin|EXTRA_PA9_Pin|OUT_DAC_SYNC_Pin|SPI3_FRAM_CS_Pin;
  GPIO_InitStruct.Mode = GPIO_MODE_OUTPUT_PP;
  GPIO_InitStruct.Pull = GPIO_NOPULL;
  GPIO_InitStruct.Speed = GPIO_SPEED_FREQ_HIGH;
  HAL_GPIO_Init(GPIOA, &GPIO_InitStruct);

  /*Configure GPIO pins : OUT_MCP_RESET_Pin OUT_ADC_CS_Pin OUT_ADC_CNVST_Pin OUT_ADC_ADDR_Pin */
  GPIO_InitStruct.Pin = OUT_MCP_RESET_Pin|OUT_ADC_CS_Pin|OUT_ADC_CNVST_Pin|OUT_ADC_ADDR_Pin;
  GPIO_InitStruct.Mode = GPIO_MODE_OUTPUT_PP;
  GPIO_InitStruct.Pull = GPIO_NOPULL;
  GPIO_InitStruct.Speed = GPIO_SPEED_FREQ_HIGH;
  HAL_GPIO_Init(GPIOB, &GPIO_InitStruct);

  /*Configure GPIO pin : INT_ADC_BUSY_Pin */
  GPIO_InitStruct.Pin = INT_ADC_BUSY_Pin;
  GPIO_InitStruct.Mode = GPIO_MODE_IT_FALLING;
  GPIO_InitStruct.Pull = GPIO_NOPULL;
  HAL_GPIO_Init(INT_ADC_BUSY_GPIO_Port, &GPIO_InitStruct);

  /*Configure GPIO pins : MENU_BTN_3_Pin MENU_BTN_BOOT_Pin IN_BTN_MCU1_Pin */
  GPIO_InitStruct.Pin = MENU_BTN_3_Pin|MENU_BTN_BOOT_Pin|IN_BTN_MCU1_Pin;
  GPIO_InitStruct.Mode = GPIO_MODE_INPUT;
  GPIO_InitStruct.Pull = GPIO_NOPULL;
  HAL_GPIO_Init(GPIOB, &GPIO_InitStruct);

  /*Configure GPIO pin : LEVEL_SHIFTER_EN_Pin */
  GPIO_InitStruct.Pin = LEVEL_SHIFTER_EN_Pin;
  GPIO_InitStruct.Mode = GPIO_MODE_OUTPUT_PP;
  GPIO_InitStruct.Pull = GPIO_NOPULL;
  GPIO_InitStruct.Speed = GPIO_SPEED_FREQ_LOW;
  HAL_GPIO_Init(LEVEL_SHIFTER_EN_GPIO_Port, &GPIO_InitStruct);

  /* EXTI interrupt init*/
  HAL_NVIC_SetPriority(EXTI2_IRQn, 0, 0);
  HAL_NVIC_EnableIRQ(EXTI2_IRQn);

  HAL_NVIC_SetPriority(EXTI3_IRQn, 0, 0);
  HAL_NVIC_EnableIRQ(EXTI3_IRQn);

  HAL_NVIC_SetPriority(EXTI15_10_IRQn, 0, 0);
  HAL_NVIC_EnableIRQ(EXTI15_10_IRQn);

}

/* USER CODE BEGIN 4 */

uint8_t task = 0;

void HAL_TIM_PeriodElapsedCallback(TIM_HandleTypeDef *htim)
{
    if (htim->Instance == TIM2) { // ~ 100 Hz

    	task = task + 1;
    	if (task == 1) {
        	mcp_poll = 1;

        	if (dacadc.CH_IDX == 5) {
        		dacadc.CH_IDX = 0;
        		nextDac = 1;
        	}
    	} else if (task == 2) {
    		led_poll = 1;
    	} else if (task == 3) {
    		midi_poll = 1;
    	} else {
    		task = 0;
    	}

        uint32_t now = HAL_GetTick();  // Time in ms
        uint32_t dt = now - last_sample_time;

        if (dt > 0) {
            float current_freq = 1000.0f / dt;  // Convert ms to Hz
            adc_freq_hz = (1.0f - filter_alpha) * adc_freq_hz + filter_alpha * current_freq;
        }

        last_sample_time = now;
    }
}

void HAL_ADC_ConvCpltCallback(ADC_HandleTypeDef* hadc)
{
    if (hadc->Instance == ADC1)
    {

        slider = HAL_ADC_GetValue(hadc);
    }
}
/* USER CODE END 4 */

void Error_Handler(void)
{
  __disable_irq();
  while (1)
  {
  }
}
